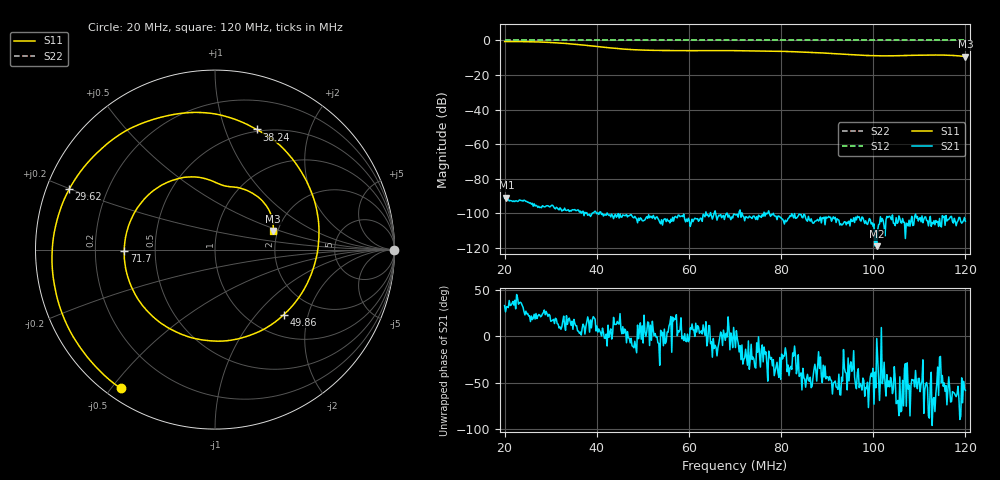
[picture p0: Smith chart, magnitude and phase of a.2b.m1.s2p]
! Anritsu VNA Master:  Model: MS2036C/10/77
! SN:  1601066
! /bd0/18may09/252.ns.m1.s2p
! Existing Calibration Information:
! TYPE:  Current Settings,  Active Cal Settings
! TIME:  05/09/2018 08:51:01 AM,  05/09/2018 08:47:23 AM
! INTERNAL TEMP:  40.0 C,  40.0 C
! # POINTS:  500,  500
! START FREQ:  20.000 MHz,  20.000 MHz
! STOP FREQ:  120.000 MHz,  120.000 MHz
! SOURCE POWER:  High,  High
! IFBW:  50 Hz,  50 Hz
! AVG FACTOR:  1 ,  1
! REF PLANE 1:  0 mm,  0 mm
! REF PLANE 2:  0 mm,  0 mm
! CAL TYPE:  Full S11,  Full S11
! CAL METHOD:  SOLT,  SOLT
! CAL LINE TYPE:  Coax,  Coax
! DUT PORT 1:  K-Conn(F),  K-Conn(F)
! DUT PORT 2:  K-Conn(F),  K-Conn(F)
! CAL STATUS:  OK: Accuracy High,  --
# GHZ S DB R 50.0
! FREQ.GHZ  S11DB  S11A  S21DB  S21A  S12DB  S12A  S22DB  S22A
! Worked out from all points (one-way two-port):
!   500 points, 20 MHz to 120 MHz, reference 50 ohm
!   highest |S21| = -90.98 dB at 20.4 MHz (marker M1); lowest = -118.9 dB at 100.8 MHz (marker M2)
!   lowest |S11| = -9.3 dB at 120 MHz (marker M3), VSWR 2.03, Z = 94.6 + j22.3 ohm
!   |S11| at or under -10 dB: nowhere
!   |S22| runs from 0.0 to 0.0 dB; largest |S21 - S12| = 1
!   S11 on the Smith chart (normalised r, x): 20 MHz: 0.04, -0.53; 29.62 MHz: 0.07, +0.20; 38.24 MHz: 0.48, +1.29; 49.86 MHz: 1.41, -1.42; 71.7 MHz: 0.33, -0.01; 120 MHz: 1.89, +0.45
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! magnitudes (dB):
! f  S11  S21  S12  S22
! 20 MHz  -0.6  -91.0  0.0  0.0
! 20.4 MHz  -0.6  -91.0  0.0  0.0
! 26.21 MHz  -0.8  -95.9  0.0  0.0
! 29.62 MHz  -1.1  -95.9  0.0  0.0
! 32.83 MHz  -1.6  -98.2  0.0  0.0
! 36.83 MHz  -2.5  -98.9  0.0  0.0
! 38.24 MHz  -3.0  -100.8  0.0  0.0
! 44.85 MHz  -4.8  -102.7  0.0  0.0
! 47.05 MHz  -5.2  -101.3  0.0  0.0
! 49.86 MHz  -5.6  -104.2  0.0  0.0
! 53.47 MHz  -5.8  -103.8  0.0  0.0
! 70.1 MHz  -5.9  -100.9  0.0  0.0
! 71.7 MHz  -5.9  -101.5  0.0  0.0
! 80.32 MHz  -6.3  -103.3  0.0  0.0
! 86.73 MHz  -6.9  -104.9  0.0  0.0
! 97.35 MHz  -8.5  -104.5  0.0  0.0
! 100.8 MHz  -8.9  -118.9  0.0  0.0
! 103.4 MHz  -8.9  -101.8  0.0  0.0
! 110 MHz  -8.5  -103.1  0.0  0.0
! 114.6 MHz  -8.4  -106.8  0.0  0.0
! 117.2 MHz  -8.6  -104.7  0.0  0.0
! 120 MHz  -9.3  -104.6  0.0  0.0
